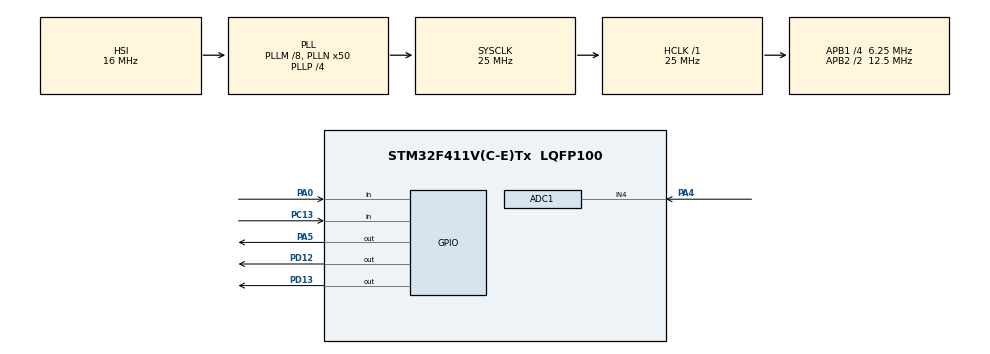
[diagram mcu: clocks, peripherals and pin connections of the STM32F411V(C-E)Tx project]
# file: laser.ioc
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ADC1.Channel-1\#ChannelRegularConversion=ADC_CHANNEL_4
ADC1.NbrOfConversionFlag=1
ADC1.Rank-1\#ChannelRegularConversion=1
ADC1.SamplingTime-1\#ChannelRegularConversion=ADC_SAMPLETIME_3CYCLES
ADC1.master=1
Mcu.Family=STM32F4
Mcu.Name=STM32F411V(C-E)Tx
Mcu.Package=LQFP100
NVIC.PriorityGroup=NVIC_PRIORITYGROUP_0
PA0-WKUP.GPIO_PuPd=GPIO_PULLUP
PA0-WKUP.Signal=GPIO_Input
PA4.Signal=ADCx_IN4
PA5.Signal=GPIO_Output
PC13-ANTI_TAMP.Signal=GPIO_Input
PD12.Signal=GPIO_Output
PD13.GPIO_PuPd=GPIO_NOPULL
PD13.Signal=GPIO_Output
ProjectManager.HeapSize=0x200
ProjectManager.StackSize=0x400
ProjectManager.TargetToolchain=STM32CubeIDE
RCC.48MHZClocksFreq_Value=12500000
RCC.AHBFreq_Value=25000000
RCC.APB1CLKDivider=RCC_HCLK_DIV4
RCC.APB1Freq_Value=6250000
RCC.APB1TimFreq_Value=12500000
RCC.APB2CLKDivider=RCC_HCLK_DIV2
RCC.APB2Freq_Value=12500000
RCC.APB2TimFreq_Value=25000000
RCC.CortexFreq_Value=25000000
RCC.HCLKFreq_Value=25000000
RCC.HSE_VALUE=8000000
RCC.HSI_VALUE=16000000
RCC.LSE_VALUE=32768
RCC.PLLI2SM=5
RCC.PLLI2SN=200
RCC.PLLM=8
RCC.PLLN=50
RCC.PLLP=RCC_PLLP_DIV4
RCC.PLLQ=8
RCC.SYSCLKFreq_VALUE=25000000
RCC.SYSCLKSource=RCC_SYSCLKSOURCE_PLLCLK
RCC.VCOOutputFreq_Value=100000000
SH.ADCx_IN4.0=ADC1_IN4,IN4
VP_TIM2_VS_ClockSourceINT.Mode=Internal
board=STM32F411E-DISCO

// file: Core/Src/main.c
/* USER CODE BEGIN Header */
/**
  ******************************************************************************
  * @file           : main.c
  * @brief          : Main program body
  ******************************************************************************
  * @attention
  *
  * Copyright (c) 2025 STMicroelectronics.
  * All rights reserved.
  *
  * This software is licensed under terms that can be found in the LICENSE file
  * in the root directory of this software component.
  * If no LICENSE file comes with this software, it is provided AS-IS.
  *
  ******************************************************************************
  */
/* USER CODE END Header */
#include "main.h"

/* USER CODE BEGIN PD */

#define TIMESUP_MS 5000 //5s para las pruebas luego habria que aumentarlo

/* USER CODE END PD */

ADC_HandleTypeDef hadc1;

TIM_HandleTypeDef htim2;

/* USER CODE BEGIN PV */
int ldr_value;
int threshold_alto = 2000; //ajustar
int threshold_bajo=500;

uint8_t laserState = 0;
uint8_t lastButtonState = 1;	//asumo pull-up
uint8_t buttonPressed = 0;

volatile uint32_t tiempo_inicio = 0;
volatile uint8_t flag_deteccion_activa = 0;
volatile uint32_t tiempo_medido = 0;
volatile uint8_t flag_timesup = 0;           // 1 cuando se acabe el tiempo

/* USER CODE END PV */

void SystemClock_Config(void);
static void MX_GPIO_Init(void);
static void MX_ADC1_Init(void);
static void MX_TIM2_Init(void);

int main(void)
{

  /* MCU Configuration--------------------------------------------------------*/

  /* Reset of all peripherals, Initializes the Flash interface and the Systick. */
  HAL_Init();

  /* Configure the system clock */
  SystemClock_Config();

  /* Initialize all configured peripherals */
  MX_GPIO_Init();
  MX_ADC1_Init();
  MX_TIM2_Init();
  /* USER CODE BEGIN 2 */
  HAL_GPIO_WritePin(GPIOA, GPIO_PIN_5, GPIO_PIN_RESET);
  laserState=0;
  lastButtonState=1;
  buttonPressed=0;

  HAL_GPIO_WritePin(GPIOD, GPIO_PIN_12, GPIO_PIN_RESET);
  HAL_GPIO_WritePin(GPIOD, GPIO_PIN_13, GPIO_PIN_RESET);

  HAL_ADC_Start(&hadc1);
  flag_deteccion_activa = 1;
  tiempo_inicio = HAL_GetTick();
  flag_timesup = 0;
  tiempo_medido = 0;

  /* USER CODE END 2 */

  /* Infinite loop */
  while (1)
  {

    /* USER CODE BEGIN 3 */

	  //leer valor de boton usuario
	  uint8_t currentButtonState = HAL_GPIO_ReadPin(GPIOA, GPIO_PIN_0);

	  if (lastButtonState == 1 && currentButtonState == 0)
	    {
	      HAL_Delay(50);//debounce

	      currentButtonState=HAL_GPIO_ReadPin(GPIOA, GPIO_PIN_0);
	         if (currentButtonState == 0)
	         {
	           buttonPressed = 1;
	         }
	       }
	  if (buttonPressed==1 && currentButtonState == 1)
	    {

	      laserState = !laserState;

	      if(laserState){
	    	  HAL_GPIO_WritePin(GPIOA, GPIO_PIN_5, GPIO_PIN_SET);
	    	  HAL_GPIO_WritePin(GPIOD, GPIO_PIN_13, GPIO_PIN_SET);
	      }
	      else{
	    	  HAL_GPIO_WritePin(GPIOA, GPIO_PIN_5, GPIO_PIN_RESET);
	    	  HAL_GPIO_WritePin(GPIOD, GPIO_PIN_13, GPIO_PIN_RESET);
	      }

	      buttonPressed = 0;

	      HAL_Delay(200);
	    }

	    lastButtonState = currentButtonState;
	    HAL_Delay(10);

	    //temporizador

	      if (HAL_ADC_PollForConversion(&hadc1, 100) == HAL_OK)
	      {
	        ldr_value = HAL_ADC_GetValue(&hadc1);

	        if(ldr_value >threshold_alto && flag_deteccion_activa)
	        {
	        	tiempo_medido = HAL_GetTick() - tiempo_inicio;
	        	flag_deteccion_activa = 0; // parar medicion

	        	HAL_GPIO_WritePin(GPIOD, GPIO_PIN_12, GPIO_PIN_SET);
	        	HAL_GPIO_WritePin(GPIOA, GPIO_PIN_5, GPIO_PIN_RESET);

	        }

	        if (ldr_value < threshold_bajo &&laserState)
	        {
	        	for(int i = 0; i < 4; i++) {
	        		HAL_GPIO_TogglePin(GPIOD, GPIO_PIN_13);
	        		HAL_Delay(80);
	        	}
	        	HAL_GPIO_WritePin(GPIOD, GPIO_PIN_13, GPIO_PIN_SET);
	        	//HAL_GPIO_WritePin(GPIOA, GPIO_PIN_5, GPIO_PIN_RESET);
	        }

	        HAL_Delay(50);
	      }

	      if (flag_deteccion_activa) {
	              if ((HAL_GetTick() - tiempo_inicio) > TIMESUP_MS) {
	                  flag_timesup = 1;
	                  flag_deteccion_activa = 0;

	                  for(int i = 0; i < 5; i++) {
	                      HAL_GPIO_TogglePin(GPIOD, GPIO_PIN_13);
	                      HAL_Delay(100);
	                  }
	                  HAL_GPIO_WritePin(GPIOD, GPIO_PIN_13, GPIO_PIN_RESET);
	              }
	          }

	      //añadir reinicio?

  }

  /* USER CODE END 3 */
}

void SystemClock_Config(void)
{
  RCC_OscInitTypeDef RCC_OscInitStruct = {0};
  RCC_ClkInitTypeDef RCC_ClkInitStruct = {0};

  /** Configure the main internal regulator output voltage
  */
  __HAL_RCC_PWR_CLK_ENABLE();
  __HAL_PWR_VOLTAGESCALING_CONFIG(PWR_REGULATOR_VOLTAGE_SCALE1);

  /** Initializes the RCC Oscillators according to the specified parameters
  * in the RCC_OscInitTypeDef structure.
  */
  RCC_OscInitStruct.OscillatorType = RCC_OSCILLATORTYPE_HSI;
  RCC_OscInitStruct.HSIState = RCC_HSI_ON;
  RCC_OscInitStruct.HSICalibrationValue = RCC_HSICALIBRATION_DEFAULT;
  RCC_OscInitStruct.PLL.PLLState = RCC_PLL_ON;
  RCC_OscInitStruct.PLL.PLLSource = RCC_PLLSOURCE_HSI;
  RCC_OscInitStruct.PLL.PLLM = 8;
  RCC_OscInitStruct.PLL.PLLN = 50;
  RCC_OscInitStruct.PLL.PLLP = RCC_PLLP_DIV4;
  RCC_OscInitStruct.PLL.PLLQ = 8;
  if (HAL_RCC_OscConfig(&RCC_OscInitStruct) != HAL_OK)
  {
    Error_Handler();
  }

  /** Initializes the CPU, AHB and APB buses clocks
  */
  RCC_ClkInitStruct.ClockType = RCC_CLOCKTYPE_HCLK|RCC_CLOCKTYPE_SYSCLK
                              |RCC_CLOCKTYPE_PCLK1|RCC_CLOCKTYPE_PCLK2;
  RCC_ClkInitStruct.SYSCLKSource = RCC_SYSCLKSOURCE_PLLCLK;
  RCC_ClkInitStruct.AHBCLKDivider = RCC_SYSCLK_DIV1;
  RCC_ClkInitStruct.APB1CLKDivider = RCC_HCLK_DIV4;
  RCC_ClkInitStruct.APB2CLKDivider = RCC_HCLK_DIV2;

  if (HAL_RCC_ClockConfig(&RCC_ClkInitStruct, FLASH_LATENCY_0) != HAL_OK)
  {
    Error_Handler();
  }
}

static void MX_ADC1_Init(void)
{

  ADC_ChannelConfTypeDef sConfig = {0};

  /** Configure the global features of the ADC (Clock, Resolution, Data Alignment and number of conversion)
  */
  hadc1.Instance = ADC1;
  hadc1.Init.ClockPrescaler = ADC_CLOCK_SYNC_PCLK_DIV2;
  hadc1.Init.Resolution = ADC_RESOLUTION_12B;
  hadc1.Init.ScanConvMode = DISABLE;
  hadc1.Init.ContinuousConvMode = DISABLE;
  hadc1.Init.DiscontinuousConvMode = DISABLE;
  hadc1.Init.ExternalTrigConvEdge = ADC_EXTERNALTRIGCONVEDGE_NONE;
  hadc1.Init.ExternalTrigConv = ADC_SOFTWARE_START;
  hadc1.Init.DataAlign = ADC_DATAALIGN_RIGHT;
  hadc1.Init.NbrOfConversion = 1;
  hadc1.Init.DMAContinuousRequests = DISABLE;
  hadc1.Init.EOCSelection = ADC_EOC_SINGLE_CONV;
  if (HAL_ADC_Init(&hadc1) != HAL_OK)
  {
    Error_Handler();
  }

  /** Configure for the selected ADC regular channel its corresponding rank in the sequencer and its sample time.
  */
  sConfig.Channel = ADC_CHANNEL_4;
  sConfig.Rank = 1;
  sConfig.SamplingTime = ADC_SAMPLETIME_3CYCLES;
  if (HAL_ADC_ConfigChannel(&hadc1, &sConfig) != HAL_OK)
  {
    Error_Handler();
  }

}

static void MX_TIM2_Init(void)
{

  TIM_ClockConfigTypeDef sClockSourceConfig = {0};
  TIM_MasterConfigTypeDef sMasterConfig = {0};

  htim2.Instance = TIM2;
  htim2.Init.Prescaler = 0;
  htim2.Init.CounterMode = TIM_COUNTERMODE_UP;
  htim2.Init.Period = 4294967295;
  htim2.Init.ClockDivision = TIM_CLOCKDIVISION_DIV1;
  htim2.Init.AutoReloadPreload = TIM_AUTORELOAD_PRELOAD_DISABLE;
  if (HAL_TIM_Base_Init(&htim2) != HAL_OK)
  {
    Error_Handler();
  }
  sClockSourceConfig.ClockSource = TIM_CLOCKSOURCE_INTERNAL;
  if (HAL_TIM_ConfigClockSource(&htim2, &sClockSourceConfig) != HAL_OK)
  {
    Error_Handler();
  }
  sMasterConfig.MasterOutputTrigger = TIM_TRGO_RESET;
  sMasterConfig.MasterSlaveMode = TIM_MASTERSLAVEMODE_DISABLE;
  if (HAL_TIMEx_MasterConfigSynchronization(&htim2, &sMasterConfig) != HAL_OK)
  {
    Error_Handler();
  }

}

static void MX_GPIO_Init(void)
{
  GPIO_InitTypeDef GPIO_InitStruct = {0};

  /* GPIO Ports Clock Enable */
  __HAL_RCC_GPIOC_CLK_ENABLE();
  __HAL_RCC_GPIOA_CLK_ENABLE();
  __HAL_RCC_GPIOD_CLK_ENABLE();

  /*Configure GPIO pin Output Level */
  HAL_GPIO_WritePin(GPIOA, GPIO_PIN_5, GPIO_PIN_RESET);

  /*Configure GPIO pin Output Level */
  HAL_GPIO_WritePin(GPIOD, GPIO_PIN_12|GPIO_PIN_13, GPIO_PIN_RESET);

  /*Configure GPIO pin : PC13 */
  GPIO_InitStruct.Pin = GPIO_PIN_13;
  GPIO_InitStruct.Mode = GPIO_MODE_INPUT;
  GPIO_InitStruct.Pull = GPIO_NOPULL;
  HAL_GPIO_Init(GPIOC, &GPIO_InitStruct);

  /*Configure GPIO pin : PA0 */
  GPIO_InitStruct.Pin = GPIO_PIN_0;
  GPIO_InitStruct.Mode = GPIO_MODE_INPUT;
  GPIO_InitStruct.Pull = GPIO_PULLUP;
  HAL_GPIO_Init(GPIOA, &GPIO_InitStruct);

  /*Configure GPIO pin : PA5 */
  GPIO_InitStruct.Pin = GPIO_PIN_5;
  GPIO_InitStruct.Mode = GPIO_MODE_OUTPUT_PP;
  GPIO_InitStruct.Pull = GPIO_NOPULL;
  GPIO_InitStruct.Speed = GPIO_SPEED_FREQ_LOW;
  HAL_GPIO_Init(GPIOA, &GPIO_InitStruct);

  /*Configure GPIO pins : PD12 PD13 */
  GPIO_InitStruct.Pin = GPIO_PIN_12|GPIO_PIN_13;
  GPIO_InitStruct.Mode = GPIO_MODE_OUTPUT_PP;
  GPIO_InitStruct.Pull = GPIO_NOPULL;
  GPIO_InitStruct.Speed = GPIO_SPEED_FREQ_LOW;
  HAL_GPIO_Init(GPIOD, &GPIO_InitStruct);

}

void Error_Handler(void)
{
  __disable_irq();
  while (1)
  {
  }
}
